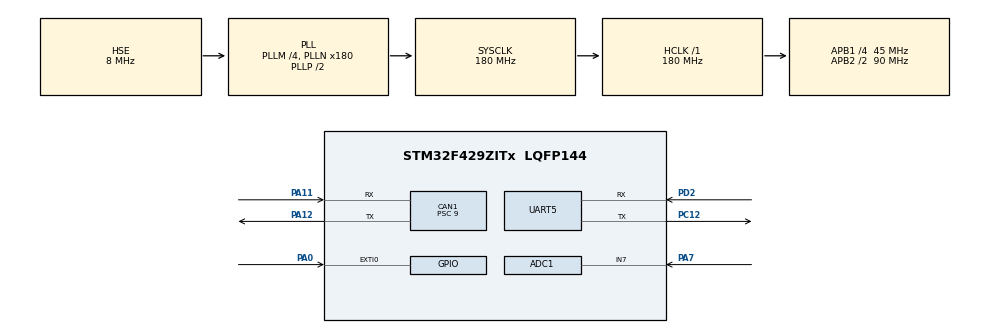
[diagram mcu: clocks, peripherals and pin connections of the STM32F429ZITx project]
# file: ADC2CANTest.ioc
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ADC1.Channel-0\#ChannelRegularConversion=ADC_CHANNEL_7
ADC1.ContinuousConvMode=ENABLE
ADC1.DMAContinuousRequests=ENABLE
ADC1.NbrOfConversionFlag=1
ADC1.Rank-0\#ChannelRegularConversion=1
ADC1.SamplingTime-0\#ChannelRegularConversion=ADC_SAMPLETIME_28CYCLES
ADC1.ScanConvMode=DISABLE
ADC1.master=1
CAN1.BS1=CAN_BS1_16TQ
CAN1.BS2=CAN_BS2_3TQ
CAN1.CalculateBaudRate=250000
CAN1.CalculateTimeBit=4000.00
CAN1.CalculateTimeQuantum=200.0
CAN1.Prescaler=9
Dma.ADC1.0.Direction=DMA_PERIPH_TO_MEMORY
Dma.ADC1.0.FIFOMode=DMA_FIFOMODE_DISABLE
Dma.ADC1.0.Instance=DMA2_Stream0
Dma.ADC1.0.MemDataAlignment=DMA_MDATAALIGN_HALFWORD
Dma.ADC1.0.MemInc=DMA_MINC_ENABLE
Dma.ADC1.0.Mode=DMA_CIRCULAR
Dma.ADC1.0.PeriphDataAlignment=DMA_PDATAALIGN_HALFWORD
Dma.ADC1.0.PeriphInc=DMA_PINC_DISABLE
Dma.ADC1.0.Priority=DMA_PRIORITY_LOW
Dma.Request0=ADC1
Mcu.Family=STM32F4
Mcu.Name=STM32F429ZITx
Mcu.Package=LQFP144
NVIC.CAN1_RX0_IRQn=true\:0\:0\:false\:false\:true\:true\:true
NVIC.DMA2_Stream0_IRQn=true\:0\:0\:false\:false\:true\:false\:true
NVIC.EXTI0_IRQn=true\:0\:0\:false\:false\:true\:true\:true
NVIC.PriorityGroup=NVIC_PRIORITYGROUP_4
NVIC.TIM7_IRQn=true\:0\:0\:false\:false\:true\:true\:true
PA0/WKUP.Signal=GPXTI0
PA11.Mode=CAN_Activate
PA11.Signal=CAN1_RX
PA12.Mode=CAN_Activate
PA12.Signal=CAN1_TX
PA7.Signal=ADCx_IN7
PC12.Mode=Asynchronous
PC12.Signal=UART5_TX
PC14/OSC32_IN.Mode=LSE-External-Oscillator
PC14/OSC32_IN.Signal=RCC_OSC32_IN
PC15/OSC32_OUT.Mode=LSE-External-Oscillator
PC15/OSC32_OUT.Signal=RCC_OSC32_OUT
PD2.Mode=Asynchronous
PD2.Signal=UART5_RX
PH0/OSC_IN.Mode=HSE-External-Oscillator
PH0/OSC_IN.Signal=RCC_OSC_IN
PH1/OSC_OUT.Mode=HSE-External-Oscillator
PH1/OSC_OUT.Signal=RCC_OSC_OUT
ProjectManager.HeapSize=0x200
ProjectManager.StackSize=0x400
ProjectManager.TargetToolchain=STM32CubeIDE
RCC.48MHZClocksFreq_Value=90000000
RCC.AHBFreq_Value=180000000
RCC.APB1CLKDivider=RCC_HCLK_DIV4
RCC.APB1Freq_Value=45000000
RCC.APB1TimFreq_Value=90000000
RCC.APB2CLKDivider=RCC_HCLK_DIV2
RCC.APB2Freq_Value=90000000
RCC.APB2TimFreq_Value=180000000
RCC.CortexFreq_Value=180000000
RCC.HCLKFreq_Value=180000000
RCC.HSE_VALUE=8000000
RCC.HSI_VALUE=16000000
RCC.PLLM=4
RCC.PLLN=180
RCC.PLLSourceVirtual=RCC_PLLSOURCE_HSE
RCC.RCC_RTC_Clock_Source=RCC_RTCCLKSOURCE_LSE
RCC.RCC_RTC_Clock_SourceVirtual=RCC_RTCCLKSOURCE_LSE
RCC.SYSCLKFreq_VALUE=180000000
RCC.SYSCLKSource=RCC_SYSCLKSOURCE_PLLCLK
RCC.VCOOutputFreq_Value=360000000
SH.ADCx_IN7.0=ADC1_IN7,IN7
TIM7.Period=8999
TIM7.Prescaler=9
UART5.VirtualMode=Asynchronous
VP_TIM7_VS_ClockSourceINT.Mode=Enable_Timer
board=custom

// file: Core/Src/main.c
/* USER CODE BEGIN Header */
/**
 ******************************************************************************
 * @file           : main.c
 * @brief          : Main program body
 ******************************************************************************
 * @attention
 *
 * <h2><center>&copy; Copyright (c) 2021 STMicroelectronics.
 * All rights reserved.</center></h2>
 *
 * This software component is licensed by ST under BSD 3-Clause license,
 * the "License"; You may not use this file except in compliance with the
 * License. You may obtain a copy of the License at:
 *                        opensource.org/licenses/BSD-3-Clause
 *
 ******************************************************************************
 */

#include <stdio.h>
#include <string.h>

/* USER CODE END Header */
#include "main.h"

ADC_HandleTypeDef hadc1;
DMA_HandleTypeDef hdma_adc1;

CAN_HandleTypeDef hcan1;

TIM_HandleTypeDef htim7;

UART_HandleTypeDef huart5;

/* USER CODE BEGIN PV */
#pragma pack(push, 1)
typedef struct
{
    /* PGN 0xF004(61444) : Electronic Engine Controller 1 */
    uint8_t  engine_torque_mode:4;
    uint8_t  actual_engine_percent_torque_fractional:4;
    uint8_t  driver_demand_engine_percent_torque;
    uint8_t  actual_engine_percent_torque;
    uint16_t engine_speed;
    uint8_t  source_address_of_ctrl_dev;
    uint8_t  engine_start_mode:4;
    uint8_t  reserved6_b0:4;
    uint8_t  reserved7;
} PGN_EEC1_t;
#pragma pack(pop)

static uint16_t adc_val  = 0;
static uint32_t sys_tick = 0;

/* USER CODE END PV */

void SystemClock_Config(void);
static void MX_GPIO_Init(void);
static void MX_DMA_Init(void);
static void MX_CAN1_Init(void);
static void MX_UART5_Init(void);
static void MX_ADC1_Init(void);
static void MX_TIM7_Init(void);

/* USER CODE BEGIN 0 */
static int can_send_message(uint32_t ext_id, uint8_t *data)
{
    uint32_t tx_mailbox;
    CAN_TxHeaderTypeDef tx_header;

    memset(&tx_header, 0x00, sizeof(CAN_TxHeaderTypeDef));
    tx_header.ExtId = ext_id;
    tx_header.IDE   = CAN_ID_EXT;
    tx_header.RTR   = CAN_RTR_DATA;
    tx_header.DLC   = 8;

    tx_mailbox = HAL_CAN_GetTxMailboxesFreeLevel(&hcan1);
    return HAL_CAN_AddTxMessage(&hcan1, &tx_header, data, &tx_mailbox);
}

static int can_tx_eec1(void)
{
    PGN_EEC1_t eec1;

    uint32_t priority = 0x03   << 26;
    uint32_t pgn      = 0xF004 << 8 ;   // Skipped EDP & DP 2bit
    uint32_t src_addr = 0x0;
    uint32_t ext_id   = priority | pgn | src_addr;

    eec1.engine_torque_mode                      = 14;
    eec1.actual_engine_percent_torque_fractional = 0;
    eec1.driver_demand_engine_percent_torque     = 254;
    eec1.actual_engine_percent_torque            = 125;
    eec1.engine_speed                            = adc_val / 0.125;
    eec1.source_address_of_ctrl_dev              = 187;
    eec1.engine_start_mode                       = 4;
    eec1.reserved6_b0                            = 0;
    eec1.reserved7                               = 125;

    return can_send_message(ext_id, (uint8_t *)&eec1);
}

int __io_putchar(int ch)
{
    if(HAL_UART_Transmit(&huart5, (uint8_t *)&ch, 1, 10) == 0)
        return ch;

    return -1;
}

void HAL_TIM_PeriodElapsedCallback(TIM_HandleTypeDef *htim)
{
    if(htim->Instance == TIM7)
    {
        if((sys_tick % 10) == 0)
            can_tx_eec1();
        sys_tick++;
    }
}

/* USER CODE END 0 */

int main(void)
{

    /* MCU Configuration--------------------------------------------------------*/

    /* Reset of all peripherals, Initializes the Flash interface and the Systick. */
    HAL_Init();

    /* Configure the system clock */
    SystemClock_Config();

    /* Initialize all configured peripherals */
    MX_GPIO_Init();
    MX_DMA_Init();
    MX_CAN1_Init();
    MX_UART5_Init();
    MX_ADC1_Init();
    MX_TIM7_Init();
    /* USER CODE BEGIN 2 */
    HAL_CAN_Start(&hcan1);
    HAL_ADC_Start_DMA(&hadc1, (uint32_t *)&adc_val, 1);
    HAL_TIM_Base_Start_IT(&htim7);
    /* USER CODE END 2 */

    /* Infinite loop */
    /* USER CODE BEGIN WHILE */
    while (1)
    {
        // uint16_t voltage = adc_val * 0.806; // mV
        // printf("adc_value = %4d, volate = %d.%d\r\n", adc_val, (voltage/1000), (voltage%1000));
        HAL_Delay(10);
        /* USER CODE END WHILE */

    }
}

void SystemClock_Config(void)
{
    RCC_OscInitTypeDef RCC_OscInitStruct = {0};
    RCC_ClkInitTypeDef RCC_ClkInitStruct = {0};

    /** Configure the main internal regulator output voltage
    */
    __HAL_RCC_PWR_CLK_ENABLE();
    __HAL_PWR_VOLTAGESCALING_CONFIG(PWR_REGULATOR_VOLTAGE_SCALE1);
    /** Initializes the RCC Oscillators according to the specified parameters
     * in the RCC_OscInitTypeDef structure.
     */
    RCC_OscInitStruct.OscillatorType = RCC_OSCILLATORTYPE_HSE;
    RCC_OscInitStruct.HSEState = RCC_HSE_ON;
    RCC_OscInitStruct.PLL.PLLState = RCC_PLL_ON;
    RCC_OscInitStruct.PLL.PLLSource = RCC_PLLSOURCE_HSE;
    RCC_OscInitStruct.PLL.PLLM = 4;
    RCC_OscInitStruct.PLL.PLLN = 180;
    RCC_OscInitStruct.PLL.PLLP = RCC_PLLP_DIV2;
    RCC_OscInitStruct.PLL.PLLQ = 4;
    if (HAL_RCC_OscConfig(&RCC_OscInitStruct) != HAL_OK)
    {
        Error_Handler();
    }
    /** Activate the Over-Drive mode
    */
    if (HAL_PWREx_EnableOverDrive() != HAL_OK)
    {
        Error_Handler();
    }
    /** Initializes the CPU, AHB and APB buses clocks
    */
    RCC_ClkInitStruct.ClockType = RCC_CLOCKTYPE_HCLK|RCC_CLOCKTYPE_SYSCLK
        |RCC_CLOCKTYPE_PCLK1|RCC_CLOCKTYPE_PCLK2;
    RCC_ClkInitStruct.SYSCLKSource = RCC_SYSCLKSOURCE_PLLCLK;
    RCC_ClkInitStruct.AHBCLKDivider = RCC_SYSCLK_DIV1;
    RCC_ClkInitStruct.APB1CLKDivider = RCC_HCLK_DIV4;
    RCC_ClkInitStruct.APB2CLKDivider = RCC_HCLK_DIV2;

    if (HAL_RCC_ClockConfig(&RCC_ClkInitStruct, FLASH_LATENCY_5) != HAL_OK)
    {
        Error_Handler();
    }
}

static void MX_ADC1_Init(void)
{

    ADC_ChannelConfTypeDef sConfig = {0};

    /** Configure the global features of the ADC (Clock, Resolution, Data Alignment and number of conversion)
    */
    hadc1.Instance = ADC1;
    hadc1.Init.ClockPrescaler = ADC_CLOCK_SYNC_PCLK_DIV4;
    hadc1.Init.Resolution = ADC_RESOLUTION_12B;
    hadc1.Init.ScanConvMode = DISABLE;
    hadc1.Init.ContinuousConvMode = ENABLE;
    hadc1.Init.DiscontinuousConvMode = DISABLE;
    hadc1.Init.ExternalTrigConvEdge = ADC_EXTERNALTRIGCONVEDGE_NONE;
    hadc1.Init.ExternalTrigConv = ADC_SOFTWARE_START;
    hadc1.Init.DataAlign = ADC_DATAALIGN_RIGHT;
    hadc1.Init.NbrOfConversion = 1;
    hadc1.Init.DMAContinuousRequests = ENABLE;
    hadc1.Init.EOCSelection = ADC_EOC_SINGLE_CONV;
    if (HAL_ADC_Init(&hadc1) != HAL_OK)
    {
        Error_Handler();
    }
    /** Configure for the selected ADC regular channel its corresponding rank in the sequencer and its sample time.
    */
    sConfig.Channel = ADC_CHANNEL_7;
    sConfig.Rank = 1;
    sConfig.SamplingTime = ADC_SAMPLETIME_28CYCLES;
    if (HAL_ADC_ConfigChannel(&hadc1, &sConfig) != HAL_OK)
    {
        Error_Handler();
    }

}

static void MX_CAN1_Init(void)
{

    hcan1.Instance = CAN1;
    hcan1.Init.Prescaler = 9;
    hcan1.Init.Mode = CAN_MODE_NORMAL;
    hcan1.Init.SyncJumpWidth = CAN_SJW_1TQ;
    hcan1.Init.TimeSeg1 = CAN_BS1_16TQ;
    hcan1.Init.TimeSeg2 = CAN_BS2_3TQ;
    hcan1.Init.TimeTriggeredMode = DISABLE;
    hcan1.Init.AutoBusOff = DISABLE;
    hcan1.Init.AutoWakeUp = DISABLE;
    hcan1.Init.AutoRetransmission = DISABLE;
    hcan1.Init.ReceiveFifoLocked = DISABLE;
    hcan1.Init.TransmitFifoPriority = DISABLE;
    if (HAL_CAN_Init(&hcan1) != HAL_OK)
    {
        Error_Handler();
    }

}

static void MX_TIM7_Init(void)
{

    TIM_MasterConfigTypeDef sMasterConfig = {0};

    htim7.Instance = TIM7;
    htim7.Init.Prescaler = 9;
    htim7.Init.CounterMode = TIM_COUNTERMODE_UP;
    htim7.Init.Period = 8999;
    htim7.Init.AutoReloadPreload = TIM_AUTORELOAD_PRELOAD_DISABLE;
    if (HAL_TIM_Base_Init(&htim7) != HAL_OK)
    {
        Error_Handler();
    }
    sMasterConfig.MasterOutputTrigger = TIM_TRGO_RESET;
    sMasterConfig.MasterSlaveMode = TIM_MASTERSLAVEMODE_DISABLE;
    if (HAL_TIMEx_MasterConfigSynchronization(&htim7, &sMasterConfig) != HAL_OK)
    {
        Error_Handler();
    }

}

static void MX_UART5_Init(void)
{

    huart5.Instance = UART5;
    huart5.Init.BaudRate = 115200;
    huart5.Init.WordLength = UART_WORDLENGTH_8B;
    huart5.Init.StopBits = UART_STOPBITS_1;
    huart5.Init.Parity = UART_PARITY_NONE;
    huart5.Init.Mode = UART_MODE_TX_RX;
    huart5.Init.HwFlowCtl = UART_HWCONTROL_NONE;
    huart5.Init.OverSampling = UART_OVERSAMPLING_16;
    if (HAL_UART_Init(&huart5) != HAL_OK)
    {
        Error_Handler();
    }

}

static void MX_DMA_Init(void)
{

    /* DMA controller clock enable */
    __HAL_RCC_DMA2_CLK_ENABLE();

    /* DMA interrupt init */
    /* DMA2_Stream0_IRQn interrupt configuration */
    HAL_NVIC_SetPriority(DMA2_Stream0_IRQn, 0, 0);
    HAL_NVIC_EnableIRQ(DMA2_Stream0_IRQn);

}

static void MX_GPIO_Init(void)
{
    GPIO_InitTypeDef GPIO_InitStruct = {0};

    /* GPIO Ports Clock Enable */
    __HAL_RCC_GPIOC_CLK_ENABLE();
    __HAL_RCC_GPIOH_CLK_ENABLE();
    __HAL_RCC_GPIOA_CLK_ENABLE();
    __HAL_RCC_GPIOD_CLK_ENABLE();

    /*Configure GPIO pin : PA0 */
    GPIO_InitStruct.Pin = GPIO_PIN_0;
    GPIO_InitStruct.Mode = GPIO_MODE_IT_RISING;
    GPIO_InitStruct.Pull = GPIO_NOPULL;
    HAL_GPIO_Init(GPIOA, &GPIO_InitStruct);

    /* EXTI interrupt init*/
    HAL_NVIC_SetPriority(EXTI0_IRQn, 0, 0);
    HAL_NVIC_EnableIRQ(EXTI0_IRQn);

}

void Error_Handler(void)
{
    __disable_irq();
    while (1)
    {
    }
}

/************************ (C) COPYRIGHT STMicroelectronics *****END OF FILE****/
